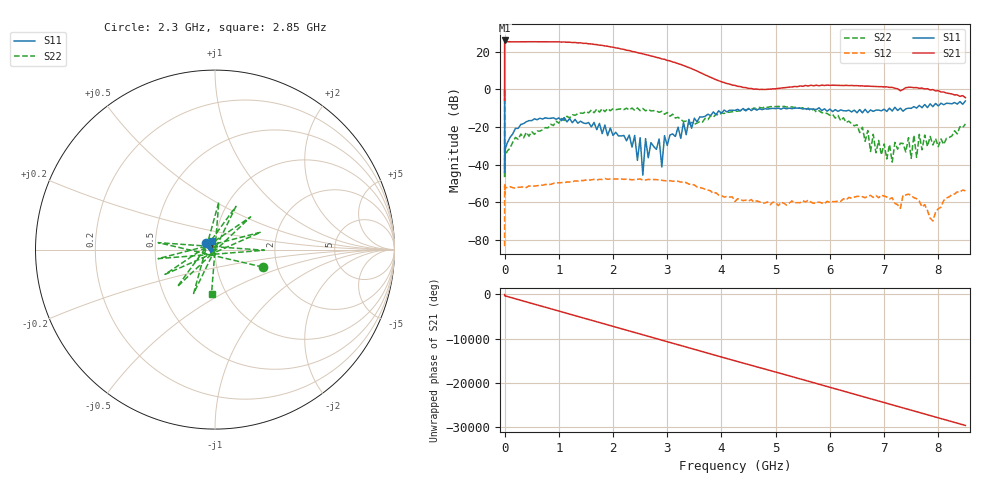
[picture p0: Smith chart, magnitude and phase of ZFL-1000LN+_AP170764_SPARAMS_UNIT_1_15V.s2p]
!Mini-Circuits Laboratory
!S-Parameters
!Model: ZFL-1000LN+
!Run / Lot / Date Code: AP170764 / NA / NA
!Fixture: NA, Pressing Arm: NA
!Network Analyzer: ENA E5071C - 4 ports;  Serial number: 71354
!Date: 11/3/2017 at 11:01:22 AM
!S/N: Unit# 1
!Calibrated with 85052D 3.5mm Calkit. Applied 15V
# Hz  S  dB  R  50
!Frequency  S11 dB  S11 Deg  S21 dB  S21 Deg  S12 dB  S12 Deg  S22 dB  S22 Deg
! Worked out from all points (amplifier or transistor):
!   199 points, 9 kHz to 8.5 GHz, reference 50 ohm
!   highest |S21| = 26.0 dB at 200 kHz (marker M1)
!   |S21| within 3 dB of that: 35.24 kHz to 1.874 GHz (1.874 GHz wide, 200 % of centre)
!   unconditionally stable (mu >= 1): start of sweep to end of sweep
!   at 250 MHz: K = 10.77, MAG = 25.4 dB, |S12| = -52.1 dB
!   at 3.55 GHz: K = 61.58, MAG = 9.9 dB, |S12| = -51.9 dB
!   at 8.5 GHz: K = 308.51, MAG = -3.1 dB, |S12| = -53.9 dB
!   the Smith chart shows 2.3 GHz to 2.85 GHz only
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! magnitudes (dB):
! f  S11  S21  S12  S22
! 9 kHz  -0.3  -5.8  -83.4  -0.4
! 20 kHz  -2.5  15.5  -62.5  -2.9
! 40 kHz  -9.2  24.1  -56.8  -9.8
! 200 kHz  -33.5  26.0  -52.9  -33.3
! 600 kHz  -42.4  25.9  -51.4  -47.3
! 9 MHz  -32.0  25.5  -51.2  -35.1
! 300 MHz  -18.6  25.3  -52.0  -23.7
! 1.45 GHz  -17.8  24.5  -48.5  -12.7
! 2.4 GHz  -24.5  20.0  -48.0  -11.2
! 2.45 GHz  -37.8  19.6  -47.8  -9.9
! 2.5 GHz  -25.7  19.3  -47.7  -11.3
! 2.55 GHz  -45.6  18.9  -48.3  -10.2
! 2.6 GHz  -26.2  18.5  -48.2  -11.4
! 2.65 GHz  -36.4  18.2  -47.9  -10.6
! 2.85 GHz  -26.3  16.8  -48.2  -12.2
! 2.9 GHz  -41.3  16.2  -48.4  -11.7
! 2.95 GHz  -24.6  16.0  -48.6  -13.2
! 4.3 GHz  -10.6  1.6  -58.2  -11.6
! 5.7 GHz  -10.5  1.9  -60.6  -10.5
! 7.1 GHz  -10.0  1.0  -58.2  -29.3
! 7.9 GHz  -9.2  -0.1  -70.0  -29.6
! 8.5 GHz  -6.2  -4.4  -53.9  -18.4
